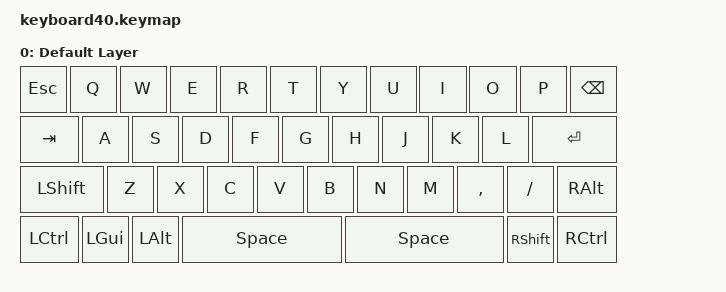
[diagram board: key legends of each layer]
#include <behaviors.dtsi>
#include <dt-bindings/zmk/keys.h>
#include <dt-bindings/zmk/bt.h>
#include <dt-bindings/zmk/outputs.h>
/ {
    
    keymap {
        compatible = "zmk,keymap";
        default_layer {
            display-name = "Default Layer";
            bindings = <
                &kp ESC   &kp Q    &kp W    &kp E &kp R     &kp T   &kp Y &kp U &kp I     &kp O   &kp P        &kp BACKSPACE
                &kp TAB   &kp A    &kp S    &kp D &kp F     &kp G   &kp H &kp J &kp K     &kp L                &kp ENTER
                &kp LSHFT &kp Z    &kp X    &kp C &kp V     &kp B   &kp N &kp M &kp COMMA &kp FSLH &kp RALT
                &kp LCTRL &kp LGUI &kp LALT       &kp Space               &kp Space               &kp RSHIFT   &kp RCTRL
            >;

        };
    };
};
